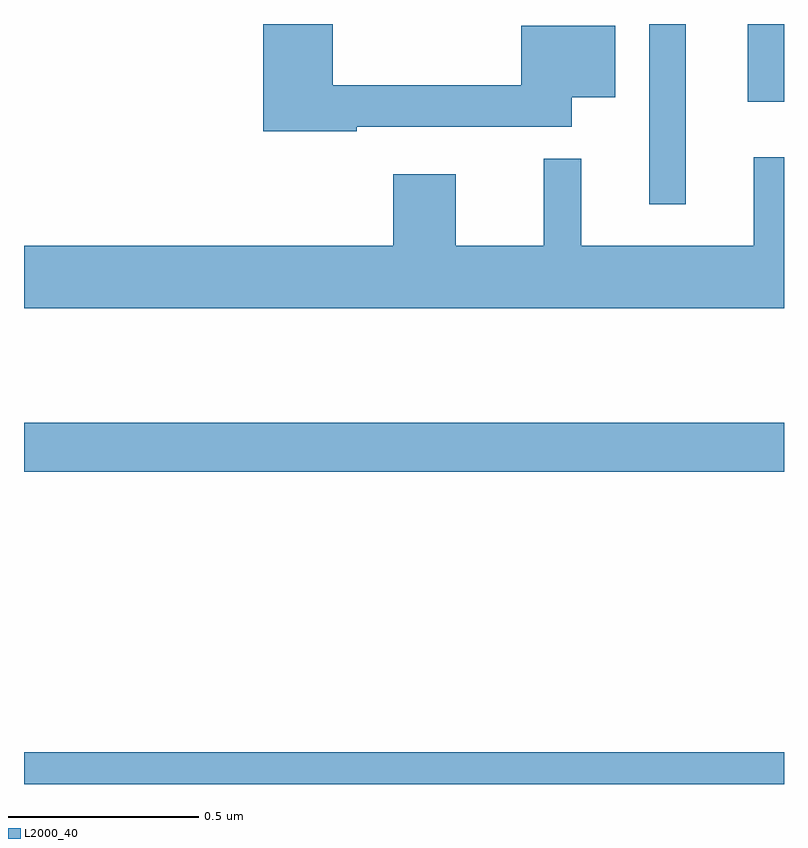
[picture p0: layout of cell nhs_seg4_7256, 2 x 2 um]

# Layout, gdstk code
import gdstk
lib = gdstk.Library(unit=1e-6, precision=1e-09)
def R(c, l, rs):  # rectangles x0, y0, x1, y1
    for r in rs: c.add(gdstk.rectangle(r[:2], r[2:], *l))
def P(c, l, *ps):  # polygons
    for p in ps: c.add(gdstk.Polygon(p, *l))
L2000_40 = (2000, 40)

nhs_seg4_7256 = lib.new_cell('nhs_seg4_7256')
R(nhs_seg4_7256, L2000_40, [(200,796.9,202,796.984), (200,797.722,202,797.851), (201.645,798.426,201.742,798.9), (201.905,798.695,202,798.9)])
P(nhs_seg4_7256, L2000_40, [(200.876,798.63),(201.442,798.63),(201.442,798.707),(201.556,798.707),(201.556,798.895),(201.308,798.895),(201.308,798.739),(200.813,798.739),(200.813,798.9),(200.63,798.9),(200.63,798.618),(200.876,798.618)],
  [(202,798.55),(201.92,798.55),(201.92,798.316),(201.467,798.316),(201.467,798.545),(201.368,798.545),(201.368,798.316),(201.136,798.316),(201.136,798.505),(200.972,798.505),(200.972,798.316),(200,798.316),(200,798.152),(202,798.152)])

lib.write_gds('nhs_seg4_7256.gds')
